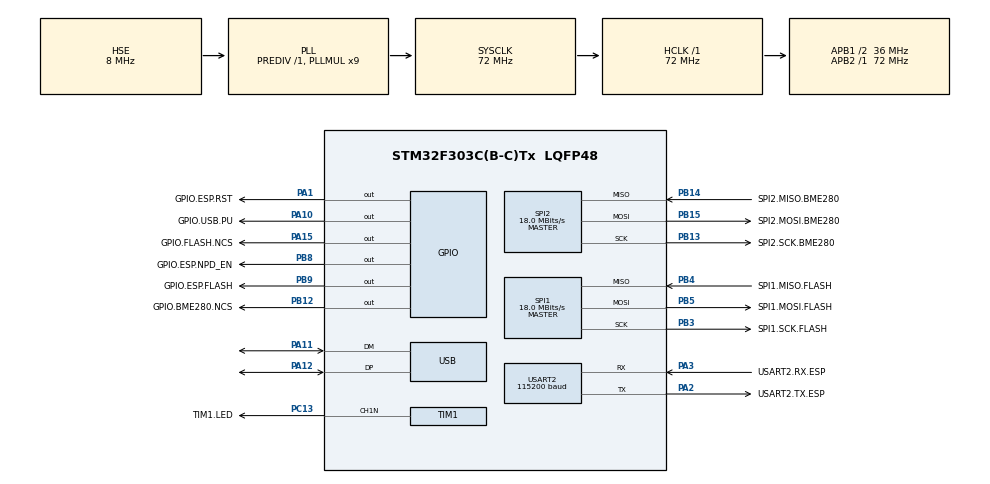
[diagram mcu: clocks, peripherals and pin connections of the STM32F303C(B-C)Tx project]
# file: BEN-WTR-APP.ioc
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Dma.Request0=SPI1_RX
Dma.Request1=SPI1_TX
Dma.Request2=SPI2_RX
Dma.Request3=SPI2_TX
Dma.Request4=USART2_RX
Dma.Request5=USART2_TX
Dma.SPI1_RX.0.Direction=DMA_PERIPH_TO_MEMORY
Dma.SPI1_RX.0.Instance=DMA1_Channel2
Dma.SPI1_RX.0.MemDataAlignment=DMA_MDATAALIGN_BYTE
Dma.SPI1_RX.0.MemInc=DMA_MINC_ENABLE
Dma.SPI1_RX.0.Mode=DMA_NORMAL
Dma.SPI1_RX.0.PeriphDataAlignment=DMA_PDATAALIGN_BYTE
Dma.SPI1_RX.0.PeriphInc=DMA_PINC_DISABLE
Dma.SPI1_RX.0.Priority=DMA_PRIORITY_LOW
Dma.SPI1_TX.1.Direction=DMA_MEMORY_TO_PERIPH
Dma.SPI1_TX.1.Instance=DMA1_Channel3
Dma.SPI1_TX.1.MemDataAlignment=DMA_MDATAALIGN_BYTE
Dma.SPI1_TX.1.MemInc=DMA_MINC_ENABLE
Dma.SPI1_TX.1.Mode=DMA_NORMAL
Dma.SPI1_TX.1.PeriphDataAlignment=DMA_PDATAALIGN_BYTE
Dma.SPI1_TX.1.PeriphInc=DMA_PINC_DISABLE
Dma.SPI1_TX.1.Priority=DMA_PRIORITY_LOW
Dma.SPI2_RX.2.Direction=DMA_PERIPH_TO_MEMORY
Dma.SPI2_RX.2.Instance=DMA1_Channel4
Dma.SPI2_RX.2.MemDataAlignment=DMA_MDATAALIGN_BYTE
Dma.SPI2_RX.2.MemInc=DMA_MINC_ENABLE
Dma.SPI2_RX.2.Mode=DMA_NORMAL
Dma.SPI2_RX.2.PeriphDataAlignment=DMA_PDATAALIGN_BYTE
Dma.SPI2_RX.2.PeriphInc=DMA_PINC_DISABLE
Dma.SPI2_RX.2.Priority=DMA_PRIORITY_LOW
Dma.SPI2_TX.3.Direction=DMA_MEMORY_TO_PERIPH
Dma.SPI2_TX.3.Instance=DMA1_Channel5
Dma.SPI2_TX.3.MemDataAlignment=DMA_MDATAALIGN_BYTE
Dma.SPI2_TX.3.MemInc=DMA_MINC_ENABLE
Dma.SPI2_TX.3.Mode=DMA_NORMAL
Dma.SPI2_TX.3.PeriphDataAlignment=DMA_PDATAALIGN_BYTE
Dma.SPI2_TX.3.PeriphInc=DMA_PINC_DISABLE
Dma.SPI2_TX.3.Priority=DMA_PRIORITY_LOW
Dma.USART2_RX.4.Direction=DMA_PERIPH_TO_MEMORY
Dma.USART2_RX.4.Instance=DMA1_Channel6
Dma.USART2_RX.4.MemDataAlignment=DMA_MDATAALIGN_BYTE
Dma.USART2_RX.4.MemInc=DMA_MINC_ENABLE
Dma.USART2_RX.4.Mode=DMA_CIRCULAR
Dma.USART2_RX.4.PeriphDataAlignment=DMA_PDATAALIGN_BYTE
Dma.USART2_RX.4.PeriphInc=DMA_PINC_DISABLE
Dma.USART2_RX.4.Priority=DMA_PRIORITY_LOW
Dma.USART2_TX.5.Direction=DMA_MEMORY_TO_PERIPH
Dma.USART2_TX.5.Instance=DMA1_Channel7
Dma.USART2_TX.5.MemDataAlignment=DMA_MDATAALIGN_BYTE
Dma.USART2_TX.5.MemInc=DMA_MINC_ENABLE
Dma.USART2_TX.5.Mode=DMA_NORMAL
Dma.USART2_TX.5.PeriphDataAlignment=DMA_PDATAALIGN_BYTE
Dma.USART2_TX.5.PeriphInc=DMA_PINC_DISABLE
Dma.USART2_TX.5.Priority=DMA_PRIORITY_LOW
Mcu.Family=STM32F3
Mcu.Name=STM32F303C(B-C)Tx
Mcu.Package=LQFP48
NVIC.DMA1_Channel2_IRQn=true\:0\:0\:false\:false\:true\:false\:true\:true
NVIC.DMA1_Channel3_IRQn=true\:0\:0\:false\:false\:true\:false\:true\:true
NVIC.DMA1_Channel4_IRQn=true\:0\:0\:false\:false\:true\:false\:true\:true
NVIC.PriorityGroup=NVIC_PRIORITYGROUP_4
NVIC.USB_LP_CAN_RX0_IRQn=true\:0\:0\:false\:false\:true\:false\:true\:true
PA1.GPIO_Label=GPIO.ESP.RST
PA1.Signal=GPIO_Output
PA10.GPIO_Label=GPIO.USB.PU
PA10.Signal=GPIO_Output
PA11.Mode=Device
PA11.Signal=USB_DM
PA12.Mode=Device
PA12.Signal=USB_DP
PA13.Mode=Serial_Wire
PA13.Signal=SYS_JTMS-SWDIO
PA14.Mode=Serial_Wire
PA14.Signal=SYS_JTCK-SWCLK
PA15.GPIO_Label=GPIO.FLASH.NCS
PA15.PinState=GPIO_PIN_SET
PA15.Signal=GPIO_Output
PA2.GPIO_Label=USART2.TX.ESP
PA2.Mode=Asynchronous
PA2.Signal=USART2_TX
PA3.GPIO_Label=USART2.RX.ESP
PA3.Mode=Asynchronous
PA3.Signal=USART2_RX
PB12.GPIO_Label=GPIO.BME280.NCS
PB12.PinState=GPIO_PIN_SET
PB12.Signal=GPIO_Output
PB13.GPIO_Label=SPI2.SCK.BME280
PB13.Mode=Full_Duplex_Master
PB13.Signal=SPI2_SCK
PB14.GPIO_Label=SPI2.MISO.BME280
PB14.Mode=Full_Duplex_Master
PB14.Signal=SPI2_MISO
PB15.GPIO_Label=SPI2.MOSI.BME280
PB15.Mode=Full_Duplex_Master
PB15.Signal=SPI2_MOSI
PB3.GPIO_Label=SPI1.SCK.FLASH
PB3.Mode=Full_Duplex_Master
PB3.Signal=SPI1_SCK
PB4.GPIO_Label=SPI1.MISO.FLASH
PB4.Mode=Full_Duplex_Master
PB4.Signal=SPI1_MISO
PB5.GPIO_Label=SPI1.MOSI.FLASH
PB5.Mode=Full_Duplex_Master
PB5.Signal=SPI1_MOSI
PB8.GPIO_Label=GPIO.ESP.NPD_EN
PB8.Signal=GPIO_Output
PB9.GPIO_Label=GPIO.ESP.FLASH
PB9.PinState=GPIO_PIN_RESET
PB9.Signal=GPIO_Output
PC13.GPIO_Label=TIM1.LED
PC13.Mode=PWM Generation1 CH1N
PC13.Signal=TIM1_CH1N
PF0-OSC_IN.Mode=HSE-External-Oscillator
PF0-OSC_IN.Signal=RCC_OSC_IN
PF1-OSC_OUT.Mode=HSE-External-Oscillator
PF1-OSC_OUT.Signal=RCC_OSC_OUT
ProjectManager.HeapSize=0x200
ProjectManager.StackSize=0x400
ProjectManager.TargetToolchain=STM32CubeIDE
RCC.AHBFreq_Value=72000000
RCC.APB1CLKDivider=RCC_HCLK_DIV2
RCC.APB1Freq_Value=36000000
RCC.APB1TimFreq_Value=72000000
RCC.APB2Freq_Value=72000000
RCC.APB2TimFreq_Value=72000000
RCC.CortexFreq_Value=72000000
RCC.HCLKFreq_Value=72000000
RCC.HSE_VALUE=8000000
RCC.HSI_VALUE=8000000
RCC.LSE_VALUE=32768
RCC.PLLMUL=RCC_PLL_MUL9
RCC.PRESCALERUSB=RCC_USBCLKSOURCE_PLL_DIV1_5
RCC.SYSCLKFreq_VALUE=72000000
RCC.SYSCLKSourceVirtual=RCC_SYSCLKSOURCE_PLLCLK
RCC.USBFreq_Value=48000000
SPI1.BaudRatePrescaler=SPI_BAUDRATEPRESCALER_4
SPI1.CalculateBaudRate=18.0 MBits/s
SPI1.DataSize=SPI_DATASIZE_8BIT
SPI1.Direction=SPI_DIRECTION_2LINES
SPI1.Mode=SPI_MODE_MASTER
SPI1.VirtualType=VM_MASTER
SPI2.CalculateBaudRate=18.0 MBits/s
SPI2.DataSize=SPI_DATASIZE_8BIT
SPI2.Direction=SPI_DIRECTION_2LINES
SPI2.Mode=SPI_MODE_MASTER
SPI2.VirtualType=VM_MASTER
TIM1.Channel-PWM\ Generation1\ CH1N=TIM_CHANNEL_1
TIM1.ClockDivision=TIM_CLOCKDIVISION_DIV4
TIM1.OCMode_PWM-PWM\ Generation1\ CH1N=TIM_OCMODE_PWM2
TIM1.OCNPolarity_1=TIM_OCNPOLARITY_HIGH
TIM1.Period=99
TIM1.Prescaler=359
USART2.BaudRate=115200
USART2.VirtualMode-Asynchronous=VM_ASYNC
USB_DEVICE.CLASS_NAME_FS=CDC
USB_DEVICE.PRODUCT_STRING_CDC_FS=BEN-WTR-APP
USB_DEVICE.VirtualMode=Cdc
USB_DEVICE.VirtualModeFS=Cdc_FS
VP_TIM1_VS_ClockSourceINT.Mode=Internal
VP_USB_DEVICE_VS_USB_DEVICE_CDC_FS.Mode=CDC_FS
board=custom

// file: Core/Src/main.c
/* USER CODE BEGIN Header */
/**
  ******************************************************************************
  * @file           : main.c
  * @brief          : Main program body
  ******************************************************************************
  * @attention
  *
  * Copyright (c) 2024 STMicroelectronics.
  * All rights reserved.
  *
  * This software is licensed under terms that can be found in the LICENSE file
  * in the root directory of this software component.
  * If no LICENSE file comes with this software, it is provided AS-IS.
  *
  ******************************************************************************
  */
/* USER CODE END Header */
#include "main.h"
#include "usb_device.h"

/* USER CODE BEGIN Includes */
#include "appInfo.h"
#include "weather.h"
#include "bme280.h"
#include "led.h"
#include "USBInterface.h"
#include "usbStreamReader.h"
#include "fileStreamWriter.h"
#include "esp.h"
#include "espCommand.h"
#include "espPost.h"
#include "espDriver.h"
#include "jump.h"
#include "espThroughHelper.h"

/* USER CODE END Includes */

/* USER CODE BEGIN PV */
ESP_td esp;
ESP_CMD_td espCmd;
bool isESPReservedForUSB;

/* USER CODE END PV */

void SystemClock_Config(void);
static void MX_GPIO_Init(void);
static void MX_DMA_Init(void);
static void MX_SPI1_Init(void);
static void MX_SPI2_Init(void);
static void MX_TIM1_Init(void);
static void MX_USART2_UART_Init(void);
/* USER CODE BEGIN PFP */
void MAIN_milli(void);

/* USER CODE END PFP */

int main(void)
{

  /* USER CODE BEGIN 1 */
	SCB->VTOR = APPSTARTADDRESS | FLASH_BASE;

  /* USER CODE END 1 */

  /* MCU Configuration--------------------------------------------------------*/

  /* Reset of all peripherals, Initializes the Flash interface and the Systick. */
  HAL_Init();

  /* Configure the system clock */
  SystemClock_Config();

  /* Initialize all configured peripherals */
  MX_GPIO_Init();
  MX_DMA_Init();
  MX_SPI1_Init();
  MX_SPI2_Init();
  MX_TIM1_Init();
  MX_USB_DEVICE_Init();
  MX_USART2_UART_Init();
  /* USER CODE BEGIN 2 */
  ESP_Initialize(&esp);
  ESPDRV_Init();
  ESP_CMD_Start(&espCmd, &esp);

  /* USER CODE END 2 */

  /* Infinite loop */
  while (1)
  {

    /* USER CODE BEGIN 3 */
	  static uint32_t milliTickLast;
	  if(milliTickLast != HAL_GetTick())
	  {
		  milliTickLast++;
		  MAIN_milli();
		  WTRPST_tick();
	  }
  }
  /* USER CODE END 3 */
}

void SystemClock_Config(void)
{
  RCC_OscInitTypeDef RCC_OscInitStruct = {0};
  RCC_ClkInitTypeDef RCC_ClkInitStruct = {0};
  RCC_PeriphCLKInitTypeDef PeriphClkInit = {0};

  /** Initializes the RCC Oscillators according to the specified parameters
  * in the RCC_OscInitTypeDef structure.
  */
  RCC_OscInitStruct.OscillatorType = RCC_OSCILLATORTYPE_HSE;
  RCC_OscInitStruct.HSEState = RCC_HSE_ON;
  RCC_OscInitStruct.HSEPredivValue = RCC_HSE_PREDIV_DIV1;
  RCC_OscInitStruct.HSIState = RCC_HSI_ON;
  RCC_OscInitStruct.PLL.PLLState = RCC_PLL_ON;
  RCC_OscInitStruct.PLL.PLLSource = RCC_PLLSOURCE_HSE;
  RCC_OscInitStruct.PLL.PLLMUL = RCC_PLL_MUL9;
  if (HAL_RCC_OscConfig(&RCC_OscInitStruct) != HAL_OK)
  {
    Error_Handler();
  }

  /** Initializes the CPU, AHB and APB buses clocks
  */
  RCC_ClkInitStruct.ClockType = RCC_CLOCKTYPE_HCLK|RCC_CLOCKTYPE_SYSCLK
                              |RCC_CLOCKTYPE_PCLK1|RCC_CLOCKTYPE_PCLK2;
  RCC_ClkInitStruct.SYSCLKSource = RCC_SYSCLKSOURCE_PLLCLK;
  RCC_ClkInitStruct.AHBCLKDivider = RCC_SYSCLK_DIV1;
  RCC_ClkInitStruct.APB1CLKDivider = RCC_HCLK_DIV2;
  RCC_ClkInitStruct.APB2CLKDivider = RCC_HCLK_DIV1;

  if (HAL_RCC_ClockConfig(&RCC_ClkInitStruct, FLASH_LATENCY_2) != HAL_OK)
  {
    Error_Handler();
  }
  PeriphClkInit.PeriphClockSelection = RCC_PERIPHCLK_USB|RCC_PERIPHCLK_USART2
                              |RCC_PERIPHCLK_TIM1;
  PeriphClkInit.Usart2ClockSelection = RCC_USART2CLKSOURCE_PCLK1;
  PeriphClkInit.USBClockSelection = RCC_USBCLKSOURCE_PLL_DIV1_5;
  PeriphClkInit.Tim1ClockSelection = RCC_TIM1CLK_HCLK;
  if (HAL_RCCEx_PeriphCLKConfig(&PeriphClkInit) != HAL_OK)
  {
    Error_Handler();
  }
}

static void MX_SPI1_Init(void)
{

  LL_SPI_InitTypeDef SPI_InitStruct = {0};

  LL_GPIO_InitTypeDef GPIO_InitStruct = {0};

  /* Peripheral clock enable */
  LL_APB2_GRP1_EnableClock(LL_APB2_GRP1_PERIPH_SPI1);

  LL_AHB1_GRP1_EnableClock(LL_AHB1_GRP1_PERIPH_GPIOB);
  /**SPI1 GPIO Configuration
  PB3   ------> SPI1_SCK
  PB4   ------> SPI1_MISO
  PB5   ------> SPI1_MOSI
  */
  GPIO_InitStruct.Pin = LL_GPIO_PIN_3|LL_GPIO_PIN_4|LL_GPIO_PIN_5;
  GPIO_InitStruct.Mode = LL_GPIO_MODE_ALTERNATE;
  GPIO_InitStruct.Speed = LL_GPIO_SPEED_FREQ_HIGH;
  GPIO_InitStruct.OutputType = LL_GPIO_OUTPUT_PUSHPULL;
  GPIO_InitStruct.Pull = LL_GPIO_PULL_NO;
  GPIO_InitStruct.Alternate = LL_GPIO_AF_5;
  LL_GPIO_Init(GPIOB, &GPIO_InitStruct);

  /* SPI1 DMA Init */

  /* SPI1_RX Init */
  LL_DMA_SetDataTransferDirection(DMA1, LL_DMA_CHANNEL_2, LL_DMA_DIRECTION_PERIPH_TO_MEMORY);

  LL_DMA_SetChannelPriorityLevel(DMA1, LL_DMA_CHANNEL_2, LL_DMA_PRIORITY_LOW);

  LL_DMA_SetMode(DMA1, LL_DMA_CHANNEL_2, LL_DMA_MODE_NORMAL);

  LL_DMA_SetPeriphIncMode(DMA1, LL_DMA_CHANNEL_2, LL_DMA_PERIPH_NOINCREMENT);

  LL_DMA_SetMemoryIncMode(DMA1, LL_DMA_CHANNEL_2, LL_DMA_MEMORY_INCREMENT);

  LL_DMA_SetPeriphSize(DMA1, LL_DMA_CHANNEL_2, LL_DMA_PDATAALIGN_BYTE);

  LL_DMA_SetMemorySize(DMA1, LL_DMA_CHANNEL_2, LL_DMA_MDATAALIGN_BYTE);

  /* SPI1_TX Init */
  LL_DMA_SetDataTransferDirection(DMA1, LL_DMA_CHANNEL_3, LL_DMA_DIRECTION_MEMORY_TO_PERIPH);

  LL_DMA_SetChannelPriorityLevel(DMA1, LL_DMA_CHANNEL_3, LL_DMA_PRIORITY_LOW);

  LL_DMA_SetMode(DMA1, LL_DMA_CHANNEL_3, LL_DMA_MODE_NORMAL);

  LL_DMA_SetPeriphIncMode(DMA1, LL_DMA_CHANNEL_3, LL_DMA_PERIPH_NOINCREMENT);

  LL_DMA_SetMemoryIncMode(DMA1, LL_DMA_CHANNEL_3, LL_DMA_MEMORY_INCREMENT);

  LL_DMA_SetPeriphSize(DMA1, LL_DMA_CHANNEL_3, LL_DMA_PDATAALIGN_BYTE);

  LL_DMA_SetMemorySize(DMA1, LL_DMA_CHANNEL_3, LL_DMA_MDATAALIGN_BYTE);

  /* SPI1 parameter configuration*/
  SPI_InitStruct.TransferDirection = LL_SPI_FULL_DUPLEX;
  SPI_InitStruct.Mode = LL_SPI_MODE_MASTER;
  SPI_InitStruct.DataWidth = LL_SPI_DATAWIDTH_8BIT;
  SPI_InitStruct.ClockPolarity = LL_SPI_POLARITY_LOW;
  SPI_InitStruct.ClockPhase = LL_SPI_PHASE_1EDGE;
  SPI_InitStruct.NSS = LL_SPI_NSS_SOFT;
  SPI_InitStruct.BaudRate = LL_SPI_BAUDRATEPRESCALER_DIV4;
  SPI_InitStruct.BitOrder = LL_SPI_MSB_FIRST;
  SPI_InitStruct.CRCCalculation = LL_SPI_CRCCALCULATION_DISABLE;
  SPI_InitStruct.CRCPoly = 7;
  LL_SPI_Init(SPI1, &SPI_InitStruct);
  LL_SPI_SetStandard(SPI1, LL_SPI_PROTOCOL_MOTOROLA);
  LL_SPI_EnableNSSPulseMgt(SPI1);

}

static void MX_SPI2_Init(void)
{

  LL_SPI_InitTypeDef SPI_InitStruct = {0};

  LL_GPIO_InitTypeDef GPIO_InitStruct = {0};

  /* Peripheral clock enable */
  LL_APB1_GRP1_EnableClock(LL_APB1_GRP1_PERIPH_SPI2);

  LL_AHB1_GRP1_EnableClock(LL_AHB1_GRP1_PERIPH_GPIOB);
  /**SPI2 GPIO Configuration
  PB13   ------> SPI2_SCK
  PB14   ------> SPI2_MISO
  PB15   ------> SPI2_MOSI
  */
  GPIO_InitStruct.Pin = LL_GPIO_PIN_13|LL_GPIO_PIN_14|LL_GPIO_PIN_15;
  GPIO_InitStruct.Mode = LL_GPIO_MODE_ALTERNATE;
  GPIO_InitStruct.Speed = LL_GPIO_SPEED_FREQ_HIGH;
  GPIO_InitStruct.OutputType = LL_GPIO_OUTPUT_PUSHPULL;
  GPIO_InitStruct.Pull = LL_GPIO_PULL_NO;
  GPIO_InitStruct.Alternate = LL_GPIO_AF_5;
  LL_GPIO_Init(GPIOB, &GPIO_InitStruct);

  /* SPI2 DMA Init */

  /* SPI2_RX Init */
  LL_DMA_SetDataTransferDirection(DMA1, LL_DMA_CHANNEL_4, LL_DMA_DIRECTION_PERIPH_TO_MEMORY);

  LL_DMA_SetChannelPriorityLevel(DMA1, LL_DMA_CHANNEL_4, LL_DMA_PRIORITY_LOW);

  LL_DMA_SetMode(DMA1, LL_DMA_CHANNEL_4, LL_DMA_MODE_NORMAL);

  LL_DMA_SetPeriphIncMode(DMA1, LL_DMA_CHANNEL_4, LL_DMA_PERIPH_NOINCREMENT);

  LL_DMA_SetMemoryIncMode(DMA1, LL_DMA_CHANNEL_4, LL_DMA_MEMORY_INCREMENT);

  LL_DMA_SetPeriphSize(DMA1, LL_DMA_CHANNEL_4, LL_DMA_PDATAALIGN_BYTE);

  LL_DMA_SetMemorySize(DMA1, LL_DMA_CHANNEL_4, LL_DMA_MDATAALIGN_BYTE);

  /* SPI2_TX Init */
  LL_DMA_SetDataTransferDirection(DMA1, LL_DMA_CHANNEL_5, LL_DMA_DIRECTION_MEMORY_TO_PERIPH);

  LL_DMA_SetChannelPriorityLevel(DMA1, LL_DMA_CHANNEL_5, LL_DMA_PRIORITY_LOW);

  LL_DMA_SetMode(DMA1, LL_DMA_CHANNEL_5, LL_DMA_MODE_NORMAL);

  LL_DMA_SetPeriphIncMode(DMA1, LL_DMA_CHANNEL_5, LL_DMA_PERIPH_NOINCREMENT);

  LL_DMA_SetMemoryIncMode(DMA1, LL_DMA_CHANNEL_5, LL_DMA_MEMORY_INCREMENT);

  LL_DMA_SetPeriphSize(DMA1, LL_DMA_CHANNEL_5, LL_DMA_PDATAALIGN_BYTE);

  LL_DMA_SetMemorySize(DMA1, LL_DMA_CHANNEL_5, LL_DMA_MDATAALIGN_BYTE);

  /* SPI2 parameter configuration*/
  SPI_InitStruct.TransferDirection = LL_SPI_FULL_DUPLEX;
  SPI_InitStruct.Mode = LL_SPI_MODE_MASTER;
  SPI_InitStruct.DataWidth = LL_SPI_DATAWIDTH_8BIT;
  SPI_InitStruct.ClockPolarity = LL_SPI_POLARITY_LOW;
  SPI_InitStruct.ClockPhase = LL_SPI_PHASE_1EDGE;
  SPI_InitStruct.NSS = LL_SPI_NSS_SOFT;
  SPI_InitStruct.BaudRate = LL_SPI_BAUDRATEPRESCALER_DIV2;
  SPI_InitStruct.BitOrder = LL_SPI_MSB_FIRST;
  SPI_InitStruct.CRCCalculation = LL_SPI_CRCCALCULATION_DISABLE;
  SPI_InitStruct.CRCPoly = 7;
  LL_SPI_Init(SPI2, &SPI_InitStruct);
  LL_SPI_SetStandard(SPI2, LL_SPI_PROTOCOL_MOTOROLA);
  LL_SPI_EnableNSSPulseMgt(SPI2);
  /* USER CODE BEGIN SPI2_Init 2 */
  LL_DMA_SetPeriphAddress(DMA1, LL_DMA_CHANNEL_4, (uint32_t)&SPI2->DR);
  LL_DMA_SetPeriphAddress(DMA1, LL_DMA_CHANNEL_5, (uint32_t)&SPI2->DR);

  LL_SPI_EnableDMAReq_RX(SPI2);
  LL_SPI_EnableDMAReq_TX(SPI2);
  LL_SPI_Enable(SPI2);

  /* USER CODE END SPI2_Init 2 */

}

static void MX_TIM1_Init(void)
{

  LL_TIM_InitTypeDef TIM_InitStruct = {0};
  LL_TIM_OC_InitTypeDef TIM_OC_InitStruct = {0};
  LL_TIM_BDTR_InitTypeDef TIM_BDTRInitStruct = {0};

  LL_GPIO_InitTypeDef GPIO_InitStruct = {0};

  /* Peripheral clock enable */
  LL_APB2_GRP1_EnableClock(LL_APB2_GRP1_PERIPH_TIM1);

  TIM_InitStruct.Prescaler = 359;
  TIM_InitStruct.CounterMode = LL_TIM_COUNTERMODE_UP;
  TIM_InitStruct.Autoreload = 99;
  TIM_InitStruct.ClockDivision = LL_TIM_CLOCKDIVISION_DIV4;
  TIM_InitStruct.RepetitionCounter = 0;
  LL_TIM_Init(TIM1, &TIM_InitStruct);
  LL_TIM_DisableARRPreload(TIM1);
  LL_TIM_SetClockSource(TIM1, LL_TIM_CLOCKSOURCE_INTERNAL);
  LL_TIM_OC_EnablePreload(TIM1, LL_TIM_CHANNEL_CH1);
  TIM_OC_InitStruct.OCMode = LL_TIM_OCMODE_PWM2;
  TIM_OC_InitStruct.OCState = LL_TIM_OCSTATE_DISABLE;
  TIM_OC_InitStruct.OCNState = LL_TIM_OCSTATE_DISABLE;
  TIM_OC_InitStruct.CompareValue = 0;
  TIM_OC_InitStruct.OCPolarity = LL_TIM_OCPOLARITY_HIGH;
  TIM_OC_InitStruct.OCNPolarity = LL_TIM_OCPOLARITY_HIGH;
  TIM_OC_InitStruct.OCIdleState = LL_TIM_OCIDLESTATE_LOW;
  TIM_OC_InitStruct.OCNIdleState = LL_TIM_OCIDLESTATE_LOW;
  LL_TIM_OC_Init(TIM1, LL_TIM_CHANNEL_CH1, &TIM_OC_InitStruct);
  LL_TIM_OC_DisableFast(TIM1, LL_TIM_CHANNEL_CH1);
  LL_TIM_SetTriggerOutput(TIM1, LL_TIM_TRGO_RESET);
  LL_TIM_SetTriggerOutput2(TIM1, LL_TIM_TRGO2_RESET);
  LL_TIM_DisableMasterSlaveMode(TIM1);
  TIM_BDTRInitStruct.OSSRState = LL_TIM_OSSR_DISABLE;
  TIM_BDTRInitStruct.OSSIState = LL_TIM_OSSI_DISABLE;
  TIM_BDTRInitStruct.LockLevel = LL_TIM_LOCKLEVEL_OFF;
  TIM_BDTRInitStruct.DeadTime = 0;
  TIM_BDTRInitStruct.BreakState = LL_TIM_BREAK_DISABLE;
  TIM_BDTRInitStruct.BreakPolarity = LL_TIM_BREAK_POLARITY_HIGH;
  TIM_BDTRInitStruct.BreakFilter = LL_TIM_BREAK_FILTER_FDIV1;
  TIM_BDTRInitStruct.Break2State = LL_TIM_BREAK2_DISABLE;
  TIM_BDTRInitStruct.Break2Polarity = LL_TIM_BREAK2_POLARITY_HIGH;
  TIM_BDTRInitStruct.Break2Filter = LL_TIM_BREAK2_FILTER_FDIV1;
  TIM_BDTRInitStruct.AutomaticOutput = LL_TIM_AUTOMATICOUTPUT_DISABLE;
  LL_TIM_BDTR_Init(TIM1, &TIM_BDTRInitStruct);
  /* USER CODE BEGIN TIM1_Init 2 */

  LL_TIM_EnableAllOutputs(TIM1);
  LL_TIM_OC_SetCompareCH1(TIM4, 0);
  LL_TIM_EnableCounter(TIM1);
  LL_TIM_CC_EnableChannel(TIM1, LL_TIM_CHANNEL_CH1N);

  /* USER CODE END TIM1_Init 2 */
  LL_AHB1_GRP1_EnableClock(LL_AHB1_GRP1_PERIPH_GPIOC);
  /**TIM1 GPIO Configuration
  PC13   ------> TIM1_CH1N
  */
  GPIO_InitStruct.Pin = LL_GPIO_PIN_13;
  GPIO_InitStruct.Mode = LL_GPIO_MODE_ALTERNATE;
  GPIO_InitStruct.Speed = LL_GPIO_SPEED_FREQ_LOW;
  GPIO_InitStruct.OutputType = LL_GPIO_OUTPUT_PUSHPULL;
  GPIO_InitStruct.Pull = LL_GPIO_PULL_NO;
  GPIO_InitStruct.Alternate = LL_GPIO_AF_4;
  LL_GPIO_Init(GPIOC, &GPIO_InitStruct);

}

static void MX_USART2_UART_Init(void)
{

  LL_USART_InitTypeDef USART_InitStruct = {0};

  LL_GPIO_InitTypeDef GPIO_InitStruct = {0};

  /* Peripheral clock enable */
  LL_APB1_GRP1_EnableClock(LL_APB1_GRP1_PERIPH_USART2);

  LL_AHB1_GRP1_EnableClock(LL_AHB1_GRP1_PERIPH_GPIOA);
  /**USART2 GPIO Configuration
  PA2   ------> USART2_TX
  PA3   ------> USART2_RX
  */
  GPIO_InitStruct.Pin = LL_GPIO_PIN_2|LL_GPIO_PIN_3;
  GPIO_InitStruct.Mode = LL_GPIO_MODE_ALTERNATE;
  GPIO_InitStruct.Speed = LL_GPIO_SPEED_FREQ_HIGH;
  GPIO_InitStruct.OutputType = LL_GPIO_OUTPUT_PUSHPULL;
  GPIO_InitStruct.Pull = LL_GPIO_PULL_NO;
  GPIO_InitStruct.Alternate = LL_GPIO_AF_7;
  LL_GPIO_Init(GPIOA, &GPIO_InitStruct);

  /* USART2 DMA Init */

  /* USART2_RX Init */
  LL_DMA_SetDataTransferDirection(DMA1, LL_DMA_CHANNEL_6, LL_DMA_DIRECTION_PERIPH_TO_MEMORY);

  LL_DMA_SetChannelPriorityLevel(DMA1, LL_DMA_CHANNEL_6, LL_DMA_PRIORITY_LOW);

  LL_DMA_SetMode(DMA1, LL_DMA_CHANNEL_6, LL_DMA_MODE_CIRCULAR);

  LL_DMA_SetPeriphIncMode(DMA1, LL_DMA_CHANNEL_6, LL_DMA_PERIPH_NOINCREMENT);

  LL_DMA_SetMemoryIncMode(DMA1, LL_DMA_CHANNEL_6, LL_DMA_MEMORY_INCREMENT);

  LL_DMA_SetPeriphSize(DMA1, LL_DMA_CHANNEL_6, LL_DMA_PDATAALIGN_BYTE);

  LL_DMA_SetMemorySize(DMA1, LL_DMA_CHANNEL_6, LL_DMA_MDATAALIGN_BYTE);

  /* USART2_TX Init */
  LL_DMA_SetDataTransferDirection(DMA1, LL_DMA_CHANNEL_7, LL_DMA_DIRECTION_MEMORY_TO_PERIPH);

  LL_DMA_SetChannelPriorityLevel(DMA1, LL_DMA_CHANNEL_7, LL_DMA_PRIORITY_LOW);

  LL_DMA_SetMode(DMA1, LL_DMA_CHANNEL_7, LL_DMA_MODE_NORMAL);

  LL_DMA_SetPeriphIncMode(DMA1, LL_DMA_CHANNEL_7, LL_DMA_PERIPH_NOINCREMENT);

  LL_DMA_SetMemoryIncMode(DMA1, LL_DMA_CHANNEL_7, LL_DMA_MEMORY_INCREMENT);

  LL_DMA_SetPeriphSize(DMA1, LL_DMA_CHANNEL_7, LL_DMA_PDATAALIGN_BYTE);

  LL_DMA_SetMemorySize(DMA1, LL_DMA_CHANNEL_7, LL_DMA_MDATAALIGN_BYTE);

  USART_InitStruct.BaudRate = 115200;
  USART_InitStruct.DataWidth = LL_USART_DATAWIDTH_8B;
  USART_InitStruct.StopBits = LL_USART_STOPBITS_1;
  USART_InitStruct.Parity = LL_USART_PARITY_NONE;
  USART_InitStruct.TransferDirection = LL_USART_DIRECTION_TX_RX;
  USART_InitStruct.HardwareFlowControl = LL_USART_HWCONTROL_NONE;
  USART_InitStruct.OverSampling = LL_USART_OVERSAMPLING_16;
  LL_USART_Init(USART2, &USART_InitStruct);
  LL_USART_DisableIT_CTS(USART2);
  LL_USART_ConfigAsyncMode(USART2);
  LL_USART_Enable(USART2);

}

static void MX_DMA_Init(void)
{

  /* Init with LL driver */
  /* DMA controller clock enable */
  LL_AHB1_GRP1_EnableClock(LL_AHB1_GRP1_PERIPH_DMA1);

  /* DMA interrupt init */
  /* DMA1_Channel2_IRQn interrupt configuration */
  NVIC_SetPriority(DMA1_Channel2_IRQn, NVIC_EncodePriority(NVIC_GetPriorityGrouping(),0, 0));
  NVIC_EnableIRQ(DMA1_Channel2_IRQn);
  /* DMA1_Channel3_IRQn interrupt configuration */
  NVIC_SetPriority(DMA1_Channel3_IRQn, NVIC_EncodePriority(NVIC_GetPriorityGrouping(),0, 0));
  NVIC_EnableIRQ(DMA1_Channel3_IRQn);
  /* DMA1_Channel4_IRQn interrupt configuration */
  NVIC_SetPriority(DMA1_Channel4_IRQn, NVIC_EncodePriority(NVIC_GetPriorityGrouping(),0, 0));
  NVIC_EnableIRQ(DMA1_Channel4_IRQn);

}

static void MX_GPIO_Init(void)
{
  GPIO_InitTypeDef GPIO_InitStruct = {0};

  /* GPIO Ports Clock Enable */
  __HAL_RCC_GPIOC_CLK_ENABLE();
  __HAL_RCC_GPIOF_CLK_ENABLE();
  __HAL_RCC_GPIOA_CLK_ENABLE();
  __HAL_RCC_GPIOB_CLK_ENABLE();

  /*Configure GPIO pin Output Level */
  HAL_GPIO_WritePin(GPIOA, GPIO_ESP_RST_Pin|GPIO_USB_PU_Pin, GPIO_PIN_RESET);

  /*Configure GPIO pin Output Level */
  HAL_GPIO_WritePin(GPIO_BME280_NCS_GPIO_Port, GPIO_BME280_NCS_Pin, GPIO_PIN_SET);

  /*Configure GPIO pin Output Level */
  HAL_GPIO_WritePin(GPIO_FLASH_NCS_GPIO_Port, GPIO_FLASH_NCS_Pin, GPIO_PIN_SET);

  /*Configure GPIO pin Output Level */
  HAL_GPIO_WritePin(GPIOB, GPIO_ESP_NPD_EN_Pin|GPIO_ESP_FLASH_Pin, GPIO_PIN_RESET);

  /*Configure GPIO pins : GPIO_ESP_RST_Pin GPIO_USB_PU_Pin GPIO_FLASH_NCS_Pin */
  GPIO_InitStruct.Pin = GPIO_ESP_RST_Pin|GPIO_USB_PU_Pin|GPIO_FLASH_NCS_Pin;
  GPIO_InitStruct.Mode = GPIO_MODE_OUTPUT_PP;
  GPIO_InitStruct.Pull = GPIO_NOPULL;
  GPIO_InitStruct.Speed = GPIO_SPEED_FREQ_LOW;
  HAL_GPIO_Init(GPIOA, &GPIO_InitStruct);

  /*Configure GPIO pins : GPIO_BME280_NCS_Pin GPIO_ESP_NPD_EN_Pin GPIO_ESP_FLASH_Pin */
  GPIO_InitStruct.Pin = GPIO_BME280_NCS_Pin|GPIO_ESP_NPD_EN_Pin|GPIO_ESP_FLASH_Pin;
  GPIO_InitStruct.Mode = GPIO_MODE_OUTPUT_PP;
  GPIO_InitStruct.Pull = GPIO_NOPULL;
  GPIO_InitStruct.Speed = GPIO_SPEED_FREQ_LOW;
  HAL_GPIO_Init(GPIOB, &GPIO_InitStruct);

}

/* USER CODE BEGIN 4 */

/*----------------------------------------------------------------------------*/
/**
  * @brief  Millisecond tick interface
  * @param 	None
  * @retval None
  */
void MAIN_milli(void)
{
	WTR_milli();
	BME_milli();
	USBINT_milli();
	USR_millisecondTick();
	FSW_tick();
	ESP_tick(&esp);
	if(!isESPReservedForUSB)
		ESP_CMD_Tick(&espCmd);
	ESP_PGM_milli(&esp);
}

/* USER CODE END 4 */

void Error_Handler(void)
{
  __disable_irq();
  while (1)
  {
  }
}
